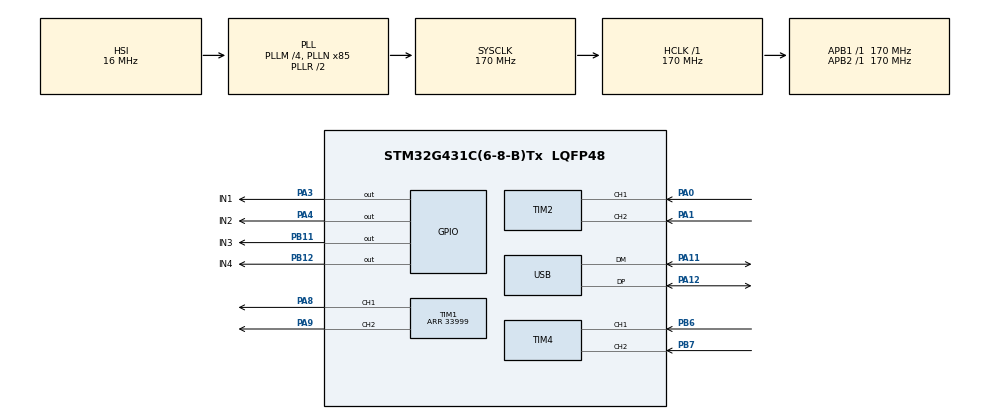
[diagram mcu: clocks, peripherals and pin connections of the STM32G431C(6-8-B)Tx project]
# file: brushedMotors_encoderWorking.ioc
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Mcu.Family=STM32G4
Mcu.Name=STM32G431C(6-8-B)Tx
Mcu.Package=LQFP48
NVIC.PriorityGroup=NVIC_PRIORITYGROUP_4
NVIC.USB_LP_IRQn=true\:0\:0\:false\:false\:true\:false\:true\:true
PA0.Signal=S_TIM2_CH1
PA1.Signal=S_TIM2_CH2
PA11.Mode=Device
PA11.Signal=USB_DM
PA12.Mode=Device
PA12.Signal=USB_DP
PA13.Mode=Serial_Wire
PA13.Signal=SYS_JTMS-SWDIO
PA14.Mode=Serial_Wire
PA14.Signal=SYS_JTCK-SWCLK
PA3.GPIO_Label=IN1
PA3.Signal=GPIO_Output
PA4.GPIO_Label=IN2
PA4.Signal=GPIO_Output
PA8.Signal=S_TIM1_CH1
PA9.Signal=S_TIM1_CH2
PB11.GPIO_Label=IN3
PB11.Signal=GPIO_Output
PB12.GPIO_Label=IN4
PB12.Signal=GPIO_Output
PB6.Signal=S_TIM4_CH1
PB7.Signal=S_TIM4_CH2
ProjectManager.HeapSize=0x200
ProjectManager.StackSize=0x400
ProjectManager.TargetToolchain=STM32CubeIDE
RCC.ADC12Freq_Value=170000000
RCC.AHBFreq_Value=170000000
RCC.APB1Freq_Value=170000000
RCC.APB1TimFreq_Value=170000000
RCC.APB2Freq_Value=170000000
RCC.APB2TimFreq_Value=170000000
RCC.CK48CLockSelection=RCC_USBCLKSOURCE_HSI48
RCC.CortexFreq_Value=170000000
RCC.EXTERNAL_CLOCK_VALUE=12288000
RCC.HCLKFreq_Value=170000000
RCC.HSE_VALUE=8000000
RCC.HSI48_VALUE=48000000
RCC.HSI_VALUE=16000000
RCC.LSE_VALUE=32768
RCC.PLLM=RCC_PLLM_DIV4
RCC.PLLN=85
RCC.SYSCLKFreq_VALUE=170000000
RCC.SYSCLKSource=RCC_SYSCLKSOURCE_PLLCLK
RCC.USBFreq_Value=48000000
RCC.VCOOutputFreq_Value=340000000
SH.S_TIM1_CH1.0=TIM1_CH1,PWM Generation1 CH1
SH.S_TIM1_CH2.0=TIM1_CH2,PWM Generation2 CH2
SH.S_TIM2_CH1.0=TIM2_CH1,Encoder_Interface
SH.S_TIM2_CH2.0=TIM2_CH2,Encoder_Interface
SH.S_TIM4_CH1.0=TIM4_CH1,Encoder_Interface
SH.S_TIM4_CH2.0=TIM4_CH2,Encoder_Interface
TIM1.AutoReloadPreload=TIM_AUTORELOAD_PRELOAD_ENABLE
TIM1.Channel-PWM\ Generation1\ CH1=TIM_CHANNEL_1
TIM1.Channel-PWM\ Generation2\ CH2=TIM_CHANNEL_2
TIM1.PeriodNoDither=33999
TIM2.EncoderMode=TIM_ENCODERMODE_TI12
TIM4.EncoderMode=TIM_ENCODERMODE_TI12
USB_DEVICE.CLASS_NAME_FS=CDC
USB_DEVICE.VirtualMode=Cdc
USB_DEVICE.VirtualModeFS=Cdc_FS
VP_SYS_VS_DBSignals.Mode=DisableDeadBatterySignals
VP_TIM1_VS_ClockSourceINT.Mode=Internal
VP_USB_DEVICE_VS_USB_DEVICE_CDC_FS.Mode=CDC_FS
board=custom

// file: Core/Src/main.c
/* USER CODE BEGIN Header */
/**
  ******************************************************************************
  * @file           : main.c
  * @brief          : Main program body
  ******************************************************************************
  * @attention
  *
  * Copyright (c) 2026 STMicroelectronics.
  * All rights reserved.
  *
  * This software is licensed under terms that can be found in the LICENSE file
  * in the root directory of this software component.
  * If no LICENSE file comes with this software, it is provided AS-IS.
  *
  ******************************************************************************
  */
/* USER CODE END Header */
#include "main.h"
#include "usb_device.h"

/* USER CODE BEGIN Includes */
#include <stdio.h>
#include "usbd_cdc_if.h"
/* USER CODE END Includes */

/* USER CODE BEGIN PD */
#define DUTY_PERCENT          30            /* motor speed, 0..100 */
#define COUNTS_PER_WHEEL_REV  (11 * 4 * 50) /* 11 PPR x4 edges x 50:1 gearbox */
/* USER CODE END PD */

TIM_HandleTypeDef htim1;
TIM_HandleTypeDef htim2;
TIM_HandleTypeDef htim4;

void SystemClock_Config(void);
static void MX_GPIO_Init(void);
static void MX_TIM1_Init(void);
static void MX_TIM2_Init(void);
static void MX_TIM4_Init(void);

int main(void)
{

  /* MCU Configuration--------------------------------------------------------*/

  /* Reset of all peripherals, Initializes the Flash interface and the Systick. */
  HAL_Init();

  /* Configure the system clock */
  SystemClock_Config();

  /* Initialize all configured peripherals */
  MX_GPIO_Init();
  MX_USB_Device_Init();
  MX_TIM1_Init();
  MX_TIM2_Init();
  MX_TIM4_Init();
  /* USER CODE BEGIN 2 */
  /* Both motors forward: IN1=1 IN2=0 (motor A), IN3=1 IN4=0 (motor B) */
    HAL_GPIO_WritePin(IN1_GPIO_Port, IN1_Pin, GPIO_PIN_SET);
    HAL_GPIO_WritePin(IN2_GPIO_Port, IN2_Pin, GPIO_PIN_RESET);
    HAL_GPIO_WritePin(IN3_GPIO_Port, IN3_Pin, GPIO_PIN_SET);
    HAL_GPIO_WritePin(IN4_GPIO_Port, IN4_Pin, GPIO_PIN_RESET);

    uint32_t duty = (__HAL_TIM_GET_AUTORELOAD(&htim1) + 1) * DUTY_PERCENT / 100;
    __HAL_TIM_SET_COMPARE(&htim1, TIM_CHANNEL_1, duty);
    __HAL_TIM_SET_COMPARE(&htim1, TIM_CHANNEL_2, duty);
    HAL_TIM_PWM_Start(&htim1, TIM_CHANNEL_1);
    HAL_TIM_PWM_Start(&htim1, TIM_CHANNEL_2);

    HAL_TIM_Encoder_Start(&htim2, TIM_CHANNEL_ALL);
    HAL_TIM_Encoder_Start(&htim4, TIM_CHANNEL_ALL);
    uint32_t lastL = 0;   /* TIM2 is 32-bit */
    uint16_t lastR = 0;   /* TIM4 is 16-bit */
  /* USER CODE END 2 */

  /* Infinite loop */
  while (1)
  {

    /* USER CODE BEGIN 3 */
		  HAL_Delay(100);
		  uint32_t nowL = __HAL_TIM_GET_COUNTER(&htim2);
		  uint16_t nowR = __HAL_TIM_GET_COUNTER(&htim4);
		  int32_t dL = (int32_t)(nowL - lastL);            /* counts in 100 ms */
		  int32_t dR = (int16_t)(uint16_t)(nowR - lastR);
		  lastL = nowL;
		  lastR = nowR;

		  /* counts per 100 ms x 600 = counts per minute; / counts per rev = rpm */
		  int32_t rpmL = dL * 600 / COUNTS_PER_WHEEL_REV;
		  int32_t rpmR = dR * 600 / COUNTS_PER_WHEEL_REV;

		  static char msg[64];
		  int n = snprintf(msg, sizeof msg, "L %ld cnt/s %ld rpm | R %ld cnt/s %ld rpm\r\n",
						   (long)(dL * 10), (long)rpmL, (long)(dR * 10), (long)rpmR);
		  CDC_Transmit_FS((uint8_t *)msg, n);

		    CDC_Transmit_FS((uint8_t *)msg, n);
		  }
		  /* USER CODE END 3 */
		}

void SystemClock_Config(void)
{
  RCC_OscInitTypeDef RCC_OscInitStruct = {0};
  RCC_ClkInitTypeDef RCC_ClkInitStruct = {0};

  /** Configure the main internal regulator output voltage
  */
  HAL_PWREx_ControlVoltageScaling(PWR_REGULATOR_VOLTAGE_SCALE1_BOOST);

  /** Initializes the RCC Oscillators according to the specified parameters
  * in the RCC_OscInitTypeDef structure.
  */
  RCC_OscInitStruct.OscillatorType = RCC_OSCILLATORTYPE_HSI|RCC_OSCILLATORTYPE_HSI48;
  RCC_OscInitStruct.HSIState = RCC_HSI_ON;
  RCC_OscInitStruct.HSICalibrationValue = RCC_HSICALIBRATION_DEFAULT;
  RCC_OscInitStruct.HSI48State = RCC_HSI48_ON;
  RCC_OscInitStruct.PLL.PLLState = RCC_PLL_ON;
  RCC_OscInitStruct.PLL.PLLSource = RCC_PLLSOURCE_HSI;
  RCC_OscInitStruct.PLL.PLLM = RCC_PLLM_DIV4;
  RCC_OscInitStruct.PLL.PLLN = 85;
  RCC_OscInitStruct.PLL.PLLP = RCC_PLLP_DIV2;
  RCC_OscInitStruct.PLL.PLLQ = RCC_PLLQ_DIV2;
  RCC_OscInitStruct.PLL.PLLR = RCC_PLLR_DIV2;
  if (HAL_RCC_OscConfig(&RCC_OscInitStruct) != HAL_OK)
  {
    Error_Handler();
  }

  /** Initializes the CPU, AHB and APB buses clocks
  */
  RCC_ClkInitStruct.ClockType = RCC_CLOCKTYPE_HCLK|RCC_CLOCKTYPE_SYSCLK
                              |RCC_CLOCKTYPE_PCLK1|RCC_CLOCKTYPE_PCLK2;
  RCC_ClkInitStruct.SYSCLKSource = RCC_SYSCLKSOURCE_PLLCLK;
  RCC_ClkInitStruct.AHBCLKDivider = RCC_SYSCLK_DIV1;
  RCC_ClkInitStruct.APB1CLKDivider = RCC_HCLK_DIV1;
  RCC_ClkInitStruct.APB2CLKDivider = RCC_HCLK_DIV1;

  if (HAL_RCC_ClockConfig(&RCC_ClkInitStruct, FLASH_LATENCY_4) != HAL_OK)
  {
    Error_Handler();
  }
}

static void MX_TIM1_Init(void)
{

  TIM_ClockConfigTypeDef sClockSourceConfig = {0};
  TIM_MasterConfigTypeDef sMasterConfig = {0};
  TIM_OC_InitTypeDef sConfigOC = {0};
  TIM_BreakDeadTimeConfigTypeDef sBreakDeadTimeConfig = {0};

  htim1.Instance = TIM1;
  htim1.Init.Prescaler = 0;
  htim1.Init.CounterMode = TIM_COUNTERMODE_UP;
  htim1.Init.Period = 33999;
  htim1.Init.ClockDivision = TIM_CLOCKDIVISION_DIV1;
  htim1.Init.RepetitionCounter = 0;
  htim1.Init.AutoReloadPreload = TIM_AUTORELOAD_PRELOAD_ENABLE;
  if (HAL_TIM_Base_Init(&htim1) != HAL_OK)
  {
    Error_Handler();
  }
  sClockSourceConfig.ClockSource = TIM_CLOCKSOURCE_INTERNAL;
  if (HAL_TIM_ConfigClockSource(&htim1, &sClockSourceConfig) != HAL_OK)
  {
    Error_Handler();
  }
  if (HAL_TIM_PWM_Init(&htim1) != HAL_OK)
  {
    Error_Handler();
  }
  sMasterConfig.MasterOutputTrigger = TIM_TRGO_RESET;
  sMasterConfig.MasterOutputTrigger2 = TIM_TRGO2_RESET;
  sMasterConfig.MasterSlaveMode = TIM_MASTERSLAVEMODE_DISABLE;
  if (HAL_TIMEx_MasterConfigSynchronization(&htim1, &sMasterConfig) != HAL_OK)
  {
    Error_Handler();
  }
  sConfigOC.OCMode = TIM_OCMODE_PWM1;
  sConfigOC.Pulse = 0;
  sConfigOC.OCPolarity = TIM_OCPOLARITY_HIGH;
  sConfigOC.OCNPolarity = TIM_OCNPOLARITY_HIGH;
  sConfigOC.OCFastMode = TIM_OCFAST_DISABLE;
  sConfigOC.OCIdleState = TIM_OCIDLESTATE_RESET;
  sConfigOC.OCNIdleState = TIM_OCNIDLESTATE_RESET;
  if (HAL_TIM_PWM_ConfigChannel(&htim1, &sConfigOC, TIM_CHANNEL_1) != HAL_OK)
  {
    Error_Handler();
  }
  if (HAL_TIM_PWM_ConfigChannel(&htim1, &sConfigOC, TIM_CHANNEL_2) != HAL_OK)
  {
    Error_Handler();
  }
  sBreakDeadTimeConfig.OffStateRunMode = TIM_OSSR_DISABLE;
  sBreakDeadTimeConfig.OffStateIDLEMode = TIM_OSSI_DISABLE;
  sBreakDeadTimeConfig.LockLevel = TIM_LOCKLEVEL_OFF;
  sBreakDeadTimeConfig.DeadTime = 0;
  sBreakDeadTimeConfig.BreakState = TIM_BREAK_DISABLE;
  sBreakDeadTimeConfig.BreakPolarity = TIM_BREAKPOLARITY_HIGH;
  sBreakDeadTimeConfig.BreakFilter = 0;
  sBreakDeadTimeConfig.BreakAFMode = TIM_BREAK_AFMODE_INPUT;
  sBreakDeadTimeConfig.Break2State = TIM_BREAK2_DISABLE;
  sBreakDeadTimeConfig.Break2Polarity = TIM_BREAK2POLARITY_HIGH;
  sBreakDeadTimeConfig.Break2Filter = 0;
  sBreakDeadTimeConfig.Break2AFMode = TIM_BREAK_AFMODE_INPUT;
  sBreakDeadTimeConfig.AutomaticOutput = TIM_AUTOMATICOUTPUT_DISABLE;
  if (HAL_TIMEx_ConfigBreakDeadTime(&htim1, &sBreakDeadTimeConfig) != HAL_OK)
  {
    Error_Handler();
  }
  HAL_TIM_MspPostInit(&htim1);

}

static void MX_TIM2_Init(void)
{

  TIM_Encoder_InitTypeDef sConfig = {0};
  TIM_MasterConfigTypeDef sMasterConfig = {0};

  htim2.Instance = TIM2;
  htim2.Init.Prescaler = 0;
  htim2.Init.CounterMode = TIM_COUNTERMODE_UP;
  htim2.Init.Period = 4294967295;
  htim2.Init.ClockDivision = TIM_CLOCKDIVISION_DIV1;
  htim2.Init.AutoReloadPreload = TIM_AUTORELOAD_PRELOAD_DISABLE;
  sConfig.EncoderMode = TIM_ENCODERMODE_TI12;
  sConfig.IC1Polarity = TIM_ICPOLARITY_RISING;
  sConfig.IC1Selection = TIM_ICSELECTION_DIRECTTI;
  sConfig.IC1Prescaler = TIM_ICPSC_DIV1;
  sConfig.IC1Filter = 0;
  sConfig.IC2Polarity = TIM_ICPOLARITY_RISING;
  sConfig.IC2Selection = TIM_ICSELECTION_DIRECTTI;
  sConfig.IC2Prescaler = TIM_ICPSC_DIV1;
  sConfig.IC2Filter = 0;
  if (HAL_TIM_Encoder_Init(&htim2, &sConfig) != HAL_OK)
  {
    Error_Handler();
  }
  sMasterConfig.MasterOutputTrigger = TIM_TRGO_RESET;
  sMasterConfig.MasterSlaveMode = TIM_MASTERSLAVEMODE_DISABLE;
  if (HAL_TIMEx_MasterConfigSynchronization(&htim2, &sMasterConfig) != HAL_OK)
  {
    Error_Handler();
  }

}

static void MX_TIM4_Init(void)
{

  TIM_Encoder_InitTypeDef sConfig = {0};
  TIM_MasterConfigTypeDef sMasterConfig = {0};

  htim4.Instance = TIM4;
  htim4.Init.Prescaler = 0;
  htim4.Init.CounterMode = TIM_COUNTERMODE_UP;
  htim4.Init.Period = 65535;
  htim4.Init.ClockDivision = TIM_CLOCKDIVISION_DIV1;
  htim4.Init.AutoReloadPreload = TIM_AUTORELOAD_PRELOAD_DISABLE;
  sConfig.EncoderMode = TIM_ENCODERMODE_TI12;
  sConfig.IC1Polarity = TIM_ICPOLARITY_RISING;
  sConfig.IC1Selection = TIM_ICSELECTION_DIRECTTI;
  sConfig.IC1Prescaler = TIM_ICPSC_DIV1;
  sConfig.IC1Filter = 0;
  sConfig.IC2Polarity = TIM_ICPOLARITY_RISING;
  sConfig.IC2Selection = TIM_ICSELECTION_DIRECTTI;
  sConfig.IC2Prescaler = TIM_ICPSC_DIV1;
  sConfig.IC2Filter = 0;
  if (HAL_TIM_Encoder_Init(&htim4, &sConfig) != HAL_OK)
  {
    Error_Handler();
  }
  sMasterConfig.MasterOutputTrigger = TIM_TRGO_RESET;
  sMasterConfig.MasterSlaveMode = TIM_MASTERSLAVEMODE_DISABLE;
  if (HAL_TIMEx_MasterConfigSynchronization(&htim4, &sMasterConfig) != HAL_OK)
  {
    Error_Handler();
  }

}

static void MX_GPIO_Init(void)
{
  GPIO_InitTypeDef GPIO_InitStruct = {0};

  /* GPIO Ports Clock Enable */
  __HAL_RCC_GPIOA_CLK_ENABLE();
  __HAL_RCC_GPIOB_CLK_ENABLE();

  /*Configure GPIO pin Output Level */
  HAL_GPIO_WritePin(GPIOA, IN1_Pin|IN2_Pin, GPIO_PIN_RESET);

  /*Configure GPIO pin Output Level */
  HAL_GPIO_WritePin(GPIOB, IN3_Pin|IN4_Pin, GPIO_PIN_RESET);

  /*Configure GPIO pins : IN1_Pin IN2_Pin */
  GPIO_InitStruct.Pin = IN1_Pin|IN2_Pin;
  GPIO_InitStruct.Mode = GPIO_MODE_OUTPUT_PP;
  GPIO_InitStruct.Pull = GPIO_NOPULL;
  GPIO_InitStruct.Speed = GPIO_SPEED_FREQ_LOW;
  HAL_GPIO_Init(GPIOA, &GPIO_InitStruct);

  /*Configure GPIO pins : IN3_Pin IN4_Pin */
  GPIO_InitStruct.Pin = IN3_Pin|IN4_Pin;
  GPIO_InitStruct.Mode = GPIO_MODE_OUTPUT_PP;
  GPIO_InitStruct.Pull = GPIO_NOPULL;
  GPIO_InitStruct.Speed = GPIO_SPEED_FREQ_LOW;
  HAL_GPIO_Init(GPIOB, &GPIO_InitStruct);

}

void Error_Handler(void)
{
  __disable_irq();
  while (1)
  {
  }
}
